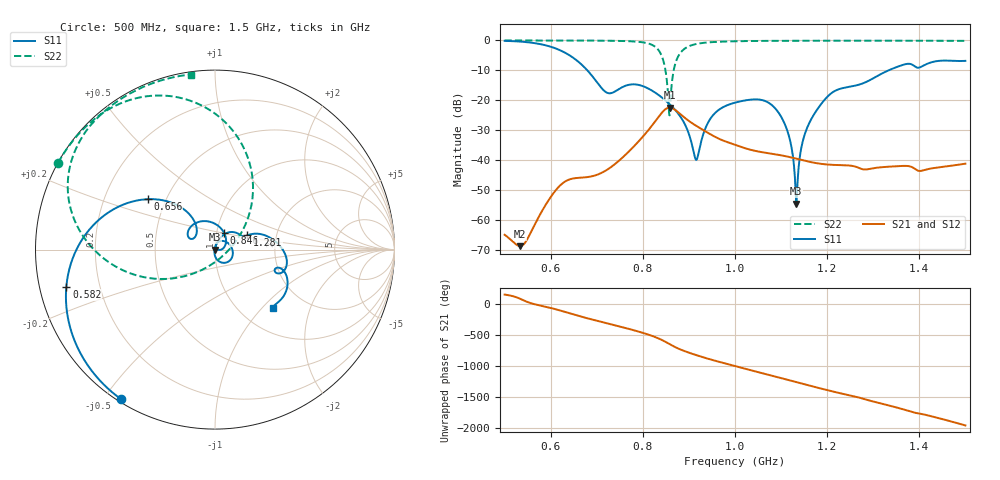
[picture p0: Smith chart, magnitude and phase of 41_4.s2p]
! TOUCHSTONE file generated by CST MICROWAVE STUDIO
! Date and time: Wed Oct 28 19:21:09 2020
! Project name: Scenario_1_Circular_Tissue_out_of_Line.cst
! Parameters = {dy1=346; L_HA=400; MT=2.54; Rad_Dielectric=30; Rad_Lower=7.3; Rad_Upper=30; a_HA=580; a_WG=246; b_HA=500; b_WG=121; c_HA=0; c_WG=187; d_feed=85; dx1=693; h_feed=15; h_lower=18; h_upper=40}
! Header version: 2018
! Port assignment regex: !\s*Touchstone port\s*([0-9]+)\s*=\s*(CST MWS port|CST DS port)\s*([0-9]+|Zmin|Zmax)\s*\(\"(.*)\"\)(\s*mode\s*([0-9]+))?.*
! Touchstone port assignment:
! Touchstone port 1 = CST MWS port 1 ("")
! Touchstone port 2 = CST MWS port 2 ("")
# GHz S DB R 50
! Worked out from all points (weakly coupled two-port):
!   1001 points, 500 MHz to 1.5 GHz, reference 50 ohm
!   highest |S21| = -22.38 dB at 858 MHz (marker M1); lowest = -68.6 dB at 534 MHz (marker M2)
!   lowest |S11| = -54.4 dB at 1.133 GHz (marker M3), VSWR 1.00, Z = 49.8 + j0.006 ohm
!   |S11| at or under -10 dB: 679.7 MHz to 1.333 GHz (653.1 MHz wide, 64.9 % of centre)
!   |S22| runs from -25.0 to 0.0 dB; largest |S21 - S12| = 2.1e-05
!   S11 on the Smith chart (normalised r, x): 500 MHz: 0.01, -0.55; 582 MHz: 0.08, -0.12; 656 MHz: 0.40, +0.29; 846 MHz: 1.09, +0.20; 1.281 GHz: 1.42, +0.23; 1.5 GHz: 1.41, -1.15
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0.5  -0.14 -122.3  -64.76 157.6  -64.76 157.6  -0.01 151.1
0.534  -0.39 -138.4  -68.56 88.3  -68.55 88.4  -0.01 148.9
0.582  -1.37 -166.0  -56.63 -28.5  -56.63 -28.5  -0.02 145.5
0.656  -6.59 143.1  -45.85 -179.3  -45.85 -179.3  -0.04 139.4
0.667  -8.03 136.3  -45.72 158.2  -45.72 158.2  -0.04 138.4
0.723  -17.48 141.5  -43.04 51.1  -43.04 51.2  -0.10 131.9
0.792  -14.86 122.7  -33.44 -84.5  -33.44 -84.5  -0.49 116.2
0.834  -18.17 74.9  -25.49 167.7  -25.49 167.7  -3.22 83.3
0.846  -19.61 60.4  -23.31 124.7  -23.31 124.7  -7.63 59.4
0.858  -21.24 45.5  -22.38 75.2  -22.38 75.2  -24.99 -62.4
0.877  -24.44 21.0  -23.99 3.3  -23.99 3.3  -5.22 -169.3
0.916  -39.80 38.1  -28.48 -102.7  -28.48 -102.7  -1.18 159.6
0.948  -25.77 62.2  -31.39 -175.0  -31.40 -175.0  -0.58 149.4
1  -20.74 9.1  -34.78 79.9  -34.78 79.9  -0.28 140.3
1.091  -23.33 -71.9  -38.04 -96.4  -38.04 -96.4  -0.13 130.5
1.117  -31.83 -95.1  -38.82 -147.8  -38.82 -147.8  -0.12 128.3
1.133  -54.43 178.2  -39.40 -179.5  -39.40 -179.5  -0.11 127.0
1.147  -33.63 79.7  -39.93 152.8  -39.93 152.8  -0.10 125.8
1.167  -25.81 70.2  -40.62 113.8  -40.62 113.8  -0.10 124.2
1.281  -14.09 23.7  -43.01 -94.3  -43.01 -94.4  -0.09 115.5
1.334  -9.92 11.3  -42.07 162.7  -42.08 162.7  -0.09 111.5
1.5  -6.80 -45.0  -41.07 -160.7  -41.07 -160.7  -0.14 97.9
